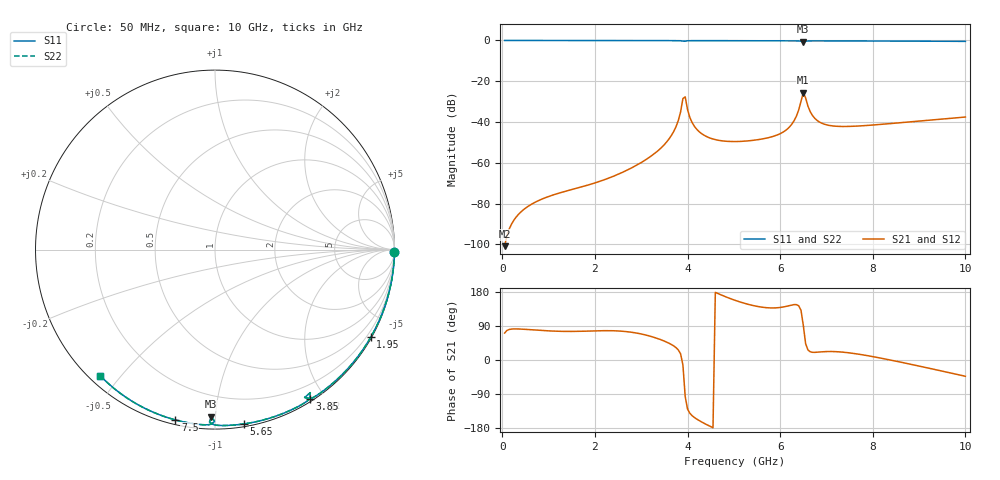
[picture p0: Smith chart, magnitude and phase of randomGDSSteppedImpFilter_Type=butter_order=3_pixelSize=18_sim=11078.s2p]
! freq	dB(S11)	phase(S11)	dB(S12)	phase(S12)
!  dB(S21)	phase(S21)	dB(S22)	phase(S22)
!S-par simulation data
#  GHz  S  DB  R 50
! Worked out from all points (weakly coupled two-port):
!   200 points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, 50 MHz to 10 GHz, reference 50 ohm
!   highest |S21| = -25.59 dB at 6.5 GHz (marker M1); lowest = -100.8 dB at 50 MHz (marker M2)
!   lowest |S11| = -0.6 dB at 6.5 GHz (marker M3), VSWR 28.39, Z = 3.44 - j48.8 ohm
!   |S11| at or under -10 dB: nowhere
!   |S22| runs from -0.6 to 0.0 dB; largest |S21 - S12| = 0
!   S11 on the Smith chart (normalised r, x): 50 MHz: open; 1.95 GHz: 0.03, -3.82; 3.85 GHz: 0.03, -1.82; 5.65 GHz: 0.02, -1.18; 7.5 GHz: 0.02, -0.79; 10 GHz: 0.03, -0.44
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0.05  -0.00 -0.8  -100.83 71.1  -100.83 71.1  -0.00 -0.8
0.65  -0.01 -9.9  -80.01 79.6  -80.01 79.6  -0.01 -9.9
1.75  -0.03 -26.4  -71.52 75.9  -71.52 75.9  -0.03 -26.4
1.95  -0.04 -29.3  -70.19 76.7  -70.19 76.7  -0.04 -29.3
2.8  -0.05 -41.7  -62.37 73.1  -62.37 73.1  -0.05 -41.7
3.4  -0.07 -50.4  -53.29 54.7  -53.29 54.7  -0.07 -50.3
3.7  -0.08 -54.8  -44.69 37.3  -44.69 37.3  -0.08 -54.8
3.85  -0.13 -57.5  -35.06 16.3  -35.06 16.3  -0.13 -57.5
3.9  -0.32 -58.8  -28.46 -12.9  -28.46 -12.9  -0.33 -58.8
3.95  -0.37 -56.3  -27.64 -96.8  -27.64 -96.8  -0.37 -56.3
4.05  -0.11 -58.5  -37.73 -140.5  -37.73 -140.5  -0.11 -58.5
4.25  -0.09 -61.7  -44.70 -159.8  -44.70 -159.8  -0.09 -61.7
5.05  -0.11 -72.6  -49.55 156.5  -49.55 156.5  -0.11 -72.6
5.65  -0.14 -80.5  -48.12 138.8  -48.12 138.8  -0.14 -80.5
6.2  -0.17 -87.7  -42.44 143.6  -42.44 143.6  -0.17 -87.7
6.35  -0.20 -89.9  -37.14 146.1  -37.14 146.1  -0.20 -89.9
6.5  -0.61 -91.3  -25.59 91.2  -25.59 91.2  -0.62 -91.3
6.7  -0.20 -92.9  -36.86 20.3  -36.86 20.3  -0.20 -92.9
7  -0.20 -96.9  -41.34 22.2  -41.34 22.2  -0.20 -96.9
7.5  -0.23 -103.1  -42.13 18.8  -42.13 18.8  -0.23 -103.1
8.35  -0.29 -113.2  -40.80 0.7  -40.80 0.7  -0.29 -113.2
10  -0.44 -132.2  -37.53 -42.9  -37.53 -42.9  -0.44 -132.2
